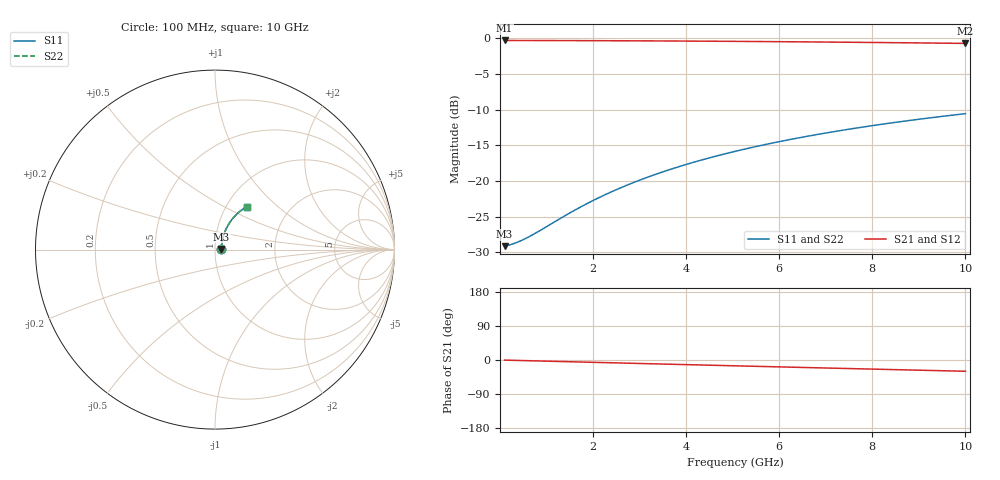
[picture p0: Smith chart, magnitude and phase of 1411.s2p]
# Hz S RI R 50.00
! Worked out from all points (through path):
!   100 points, 100 MHz to 10 GHz, reference 50 ohm
!   highest |S21| = -0.31 dB at 100 MHz (marker M1); lowest = -0.7 dB at 10 GHz (marker M2)
!   group delay of S21, straight-line fit = 8.27 ps
!   lowest |S11| = -29.1 dB at 100 MHz (marker M3), VSWR 1.07, Z = 53.6 + j0.322 ohm
!   |S11| at or under -10 dB: start of sweep to end of sweep
!   |S22| runs from -29.1 to -10.6 dB; largest |S21 - S12| = 0
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1e8  0.0349 0.003  0.9651 -0.00517  0.9651 -0.00517  0.0349 0.003
2e8  0.0352 0.00599  0.9648 -0.0103  0.9648 -0.0103  0.0352 0.00599
3e8  0.0354 0.00898  0.9646 -0.0155  0.9646 -0.0155  0.0354 0.00898
4e8  0.0356 0.012  0.9643 -0.0206  0.9643 -0.0206  0.0356 0.012
6e8  0.0362 0.0179  0.9637 -0.031  0.9637 -0.031  0.0362 0.0179
8e8  0.0368 0.0239  0.963 -0.0412  0.963 -0.0412  0.0368 0.0239
1.5e9  0.0398 0.0446  0.9596 -0.0771  0.9596 -0.0771  0.0398 0.0446
1.8e9  0.0415 0.0534  0.9577 -0.0924  0.9577 -0.0924  0.0415 0.0534
2.2e9  0.0442 0.065  0.9546 -0.1127  0.9546 -0.1127  0.0442 0.065
2.6e9  0.0474 0.0764  0.9509 -0.1328  0.9509 -0.1328  0.0474 0.0764
3e9  0.0511 0.0877  0.9467 -0.1528  0.9467 -0.1528  0.0511 0.0877
3.4e9  0.0552 0.0988  0.942 -0.1725  0.942 -0.1725  0.0552 0.0988
3.8e9  0.0597 0.1096  0.9368 -0.1921  0.9368 -0.1921  0.0597 0.1096
4.2e9  0.0647 0.1203  0.931 -0.2114  0.931 -0.2114  0.0647 0.1203
4.6e9  0.0701 0.1307  0.9247 -0.2305  0.9247 -0.2305  0.0701 0.1307
5.1e9  0.0775 0.1433  0.9162 -0.254  0.9162 -0.254  0.0775 0.1433
5.9e9  0.0905 0.1624  0.9011 -0.2906  0.9011 -0.2906  0.0905 0.1624
6.7e9  0.1049 0.1803  0.8842 -0.3259  0.8842 -0.3259  0.1049 0.1803
7.5e9  0.1206 0.1968  0.8657 -0.3598  0.8657 -0.3598  0.1206 0.1968
8.4e9  0.1396 0.2135  0.8432 -0.3962  0.8432 -0.3962  0.1396 0.2135
9.2e9  0.1574 0.2268  0.8218 -0.427  0.8218 -0.427  0.1574 0.2268
1e10  0.1761 0.2384  0.7994 -0.4561  0.7994 -0.4561  0.1761 0.2384
